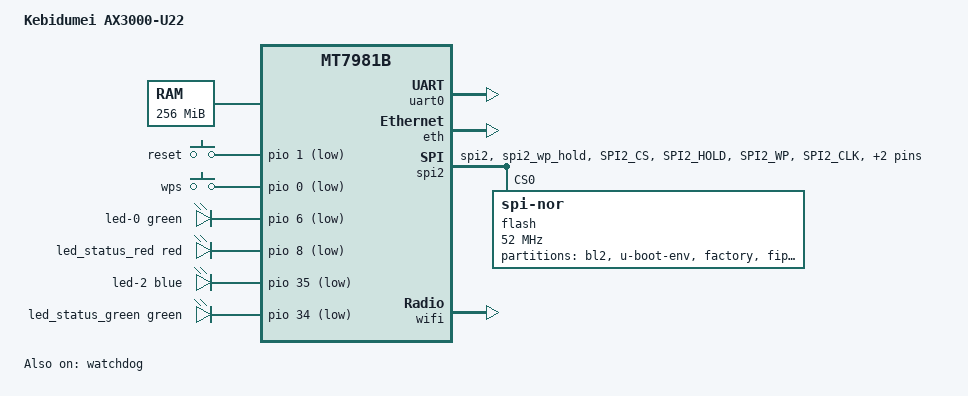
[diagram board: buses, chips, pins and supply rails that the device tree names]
// SPDX-License-Identifier: (GPL-2.0 OR MIT)

/dts-v1/;

#include "mt7981b.dtsi"

/ {
	model = "Kebidumei AX3000-U22";
	compatible = "kebidumei,ax3000-u22", "mediatek,mt7981b";

	aliases {
		label-mac-device = &gmac1;

		led-boot = &led_status_green;
		led-failsafe = &led_status_red;
		led-running = &led_status_green;
		led-upgrade = &led_status_green;

		serial0 = &uart0;
	};

	chosen {
		stdout-path = "serial0:115200n8";
	};

	memory@40000000 {
		reg = <0 0x40000000 0 0x10000000>;
		device_type = "memory";
	};

	gpio-keys {
		compatible = "gpio-keys";
		reset {
			label = "reset";
			linux,code = <KEY_RESTART>;
			gpios = <&pio 1 GPIO_ACTIVE_LOW>;
		};
		wps {
			label = "wps";
			linux,code = <KEY_WPS_BUTTON>;
			gpios = <&pio 0 GPIO_ACTIVE_LOW>;
		};
	};

	leds {
		compatible = "gpio-leds";

		led-0 {
			function = LED_FUNCTION_LAN;
			color = <LED_COLOR_ID_GREEN>;
			gpios = <&pio 6 GPIO_ACTIVE_LOW>;
		};

		led_status_red: led-1 {
			function = LED_FUNCTION_STATUS;
			color = <LED_COLOR_ID_RED>;
			gpios = <&pio 8 GPIO_ACTIVE_LOW>;
		};

		led-2 {
			function = LED_FUNCTION_STATUS;
			color = <LED_COLOR_ID_BLUE>;
			gpios = <&pio 35 GPIO_ACTIVE_LOW>;
		};

		led_status_green: led-3 {
			function = LED_FUNCTION_STATUS;
			color = <LED_COLOR_ID_GREEN>;
			gpios = <&pio 34 GPIO_ACTIVE_LOW>;
		};
	};
};

&uart0 {
	status = "okay";
};

&watchdog {
	status = "okay";
};

&eth {
	pinctrl-names = "default";
	pinctrl-0 = <&mdio_pins>;

	status = "okay";

	gmac1: mac@1 {
		compatible = "mediatek,eth-mac";
		reg = <1>;
		phy-mode = "gmii";
		phy-handle = <&int_gbe_phy>;
		nvmem-cells = <&macaddr_factory_e000 0>;
		nvmem-cell-names = "mac-address";
	};
};

&spi2 {
	pinctrl-names = "default";
	pinctrl-0 = <&spi2_flash_pins>;
	status = "okay";

	flash@0 {
		compatible = "jedec,spi-nor";
		reg = <0>;

		spi-max-frequency = <52000000>;
		spi-tx-bus-width = <4>;
		spi-rx-bus-width = <4>;

		partitions {
			compatible = "fixed-partitions";
			#address-cells = <1>;
			#size-cells = <1>;

			partition@0 {
				label = "bl2";
				reg = <0x00000 0x40000>;
				read-only;
			};

			partition@40000 {
				label = "u-boot-env";
				reg = <0x40000 0x10000>;
				read-only;
			};

			partition@50000 {
				label = "factory";
				reg = <0x50000 0xb0000>;
				read-only;

				nvmem-layout {
					compatible = "fixed-layout";
					#address-cells = <1>;
					#size-cells = <1>;

					eeprom_factory_0: eeprom@0 {
						reg = <0x0 0x1000>;
					};

					macaddr_factory_e000: macaddr@e000 {
						compatible = "mac-base";
						reg = <0xe000 0x6>;
						#nvmem-cell-cells = <1>;
					};

				};
			};

			partition@100000 {
				label = "fip";
				reg = <0x100000 0x80000>;
				read-only;
			};

			partition@180000 {
				compatible = "denx,fit";
				label = "firmware";
				reg = <0x180000 0xe80000>;
			};
		};
	};
};

&pio {
	spi2_flash_pins: spi2-pins {
		mux {
			function = "spi";
			groups = "spi2", "spi2_wp_hold";
		};

		conf-pu {
			pins = "SPI2_CS", "SPI2_HOLD", "SPI2_WP";
			drive-strength = <MTK_DRIVE_8mA>;
			bias-pull-up = <MTK_PUPD_SET_R1R0_11>;
		};

		conf-pd {
			pins = "SPI2_CLK", "SPI2_MOSI", "SPI2_MISO";
			drive-strength = <MTK_DRIVE_8mA>;
			bias-pull-down = <MTK_PUPD_SET_R1R0_11>;
		};
	};
};

&wifi {
	status = "okay";

	nvmem-cells = <&eeprom_factory_0>;
	nvmem-cell-names = "eeprom";
};
